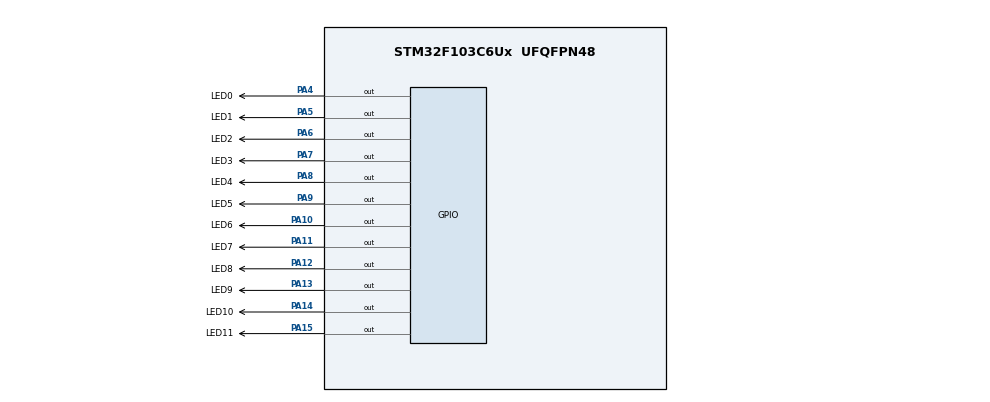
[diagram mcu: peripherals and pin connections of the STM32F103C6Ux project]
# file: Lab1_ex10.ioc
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Mcu.Family=STM32F1
Mcu.Name=STM32F103C6Ux
Mcu.Package=UFQFPN48
NVIC.PriorityGroup=NVIC_PRIORITYGROUP_4
PA10.GPIO_Label=LED6
PA10.Signal=GPIO_Output
PA11.GPIO_Label=LED7
PA11.Signal=GPIO_Output
PA12.GPIO_Label=LED8
PA12.Signal=GPIO_Output
PA13.GPIO_Label=LED9
PA13.Signal=GPIO_Output
PA14.GPIO_Label=LED10
PA14.Signal=GPIO_Output
PA15.GPIO_Label=LED11
PA15.Signal=GPIO_Output
PA4.GPIO_Label=LED0
PA4.Signal=GPIO_Output
PA5.GPIO_Label=LED1
PA5.Signal=GPIO_Output
PA6.GPIO_Label=LED2
PA6.Signal=GPIO_Output
PA7.GPIO_Label=LED3
PA7.Signal=GPIO_Output
PA8.GPIO_Label=LED4
PA8.Signal=GPIO_Output
PA9.GPIO_Label=LED5
PA9.Signal=GPIO_Output
ProjectManager.HeapSize=0x200
ProjectManager.StackSize=0x400
ProjectManager.TargetToolchain=STM32CubeIDE
RCC.APB1Freq_Value=8000000
RCC.APB2Freq_Value=8000000
VP_SYS_VS_ND.Mode=No_Debug
board=custom

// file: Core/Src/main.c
/* USER CODE BEGIN Header */
/**
  ******************************************************************************
  * @file           : main.c
  * @brief          : Main program body
  ******************************************************************************
  * @attention
  *
  * <h2><center>&copy; Copyright (c) 2023 STMicroelectronics.
  * All rights reserved.</center></h2>
  *
  * This software component is licensed by ST under BSD 3-Clause license,
  * the "License"; You may not use this file except in compliance with the
  * License. You may obtain a copy of the License at:
  *                        opensource.org/licenses/BSD-3-Clause
  *
  ******************************************************************************
  */
/* USER CODE END Header */
#include "main.h"

void SystemClock_Config(void);
static void MX_GPIO_Init(void);

void clearAllClock(){
	HAL_GPIO_WritePin(LED0_GPIO_Port, LED0_Pin, GPIO_PIN_RESET);
	HAL_GPIO_WritePin(LED1_GPIO_Port, LED1_Pin, GPIO_PIN_RESET);
	HAL_GPIO_WritePin(LED2_GPIO_Port, LED2_Pin, GPIO_PIN_RESET);
	HAL_GPIO_WritePin(LED3_GPIO_Port, LED3_Pin, GPIO_PIN_RESET);
	HAL_GPIO_WritePin(LED4_GPIO_Port, LED4_Pin, GPIO_PIN_RESET);
	HAL_GPIO_WritePin(LED5_GPIO_Port, LED5_Pin, GPIO_PIN_RESET);
	HAL_GPIO_WritePin(LED6_GPIO_Port, LED6_Pin, GPIO_PIN_RESET);
	HAL_GPIO_WritePin(LED7_GPIO_Port, LED7_Pin, GPIO_PIN_RESET);
	HAL_GPIO_WritePin(LED8_GPIO_Port, LED8_Pin, GPIO_PIN_RESET);
	HAL_GPIO_WritePin(LED9_GPIO_Port, LED9_Pin, GPIO_PIN_RESET);
	HAL_GPIO_WritePin(LED10_GPIO_Port, LED10_Pin, GPIO_PIN_RESET);
	HAL_GPIO_WritePin(LED11_GPIO_Port, LED11_Pin, GPIO_PIN_RESET);
}

void setNumberOnClock(int num){
//	clearAllClock();
	if (num == 0){
		HAL_GPIO_WritePin(LED0_GPIO_Port, LED0_Pin, GPIO_PIN_SET);
	}
	else if (num == 1){
		HAL_GPIO_WritePin(LED1_GPIO_Port, LED1_Pin, GPIO_PIN_SET);
	}
	else if (num == 2){
		HAL_GPIO_WritePin(LED2_GPIO_Port, LED2_Pin, GPIO_PIN_SET);
	}
	else if (num == 3){
		HAL_GPIO_WritePin(LED3_GPIO_Port, LED3_Pin, GPIO_PIN_SET);
	}
	else if (num == 4){
		HAL_GPIO_WritePin(LED4_GPIO_Port, LED4_Pin, GPIO_PIN_SET);
	}
	else if (num == 5){
		HAL_GPIO_WritePin(LED5_GPIO_Port, LED5_Pin, GPIO_PIN_SET);
	}
	else if (num == 6){
		HAL_GPIO_WritePin(LED6_GPIO_Port, LED6_Pin, GPIO_PIN_SET);
	}
	else if (num == 7){
		HAL_GPIO_WritePin(LED7_GPIO_Port, LED7_Pin, GPIO_PIN_SET);
	}
	else if (num == 8){
		HAL_GPIO_WritePin(LED8_GPIO_Port, LED8_Pin, GPIO_PIN_SET);
	}
	else if (num == 9){
		HAL_GPIO_WritePin(LED9_GPIO_Port, LED9_Pin, GPIO_PIN_SET);
	}
	else if (num == 10){
		HAL_GPIO_WritePin(LED10_GPIO_Port, LED10_Pin, GPIO_PIN_SET);
	}
	else {
		HAL_GPIO_WritePin(LED11_GPIO_Port, LED11_Pin, GPIO_PIN_SET);
	}

}

void setNumberOffClock(int num){
//	clearAllClock();
	if (num == 0){
		HAL_GPIO_WritePin(LED0_GPIO_Port, LED0_Pin, GPIO_PIN_RESET);
	}
	else if (num == 1){
		HAL_GPIO_WritePin(LED1_GPIO_Port, LED1_Pin, GPIO_PIN_RESET);
	}
	else if (num == 2){
		HAL_GPIO_WritePin(LED2_GPIO_Port, LED2_Pin, GPIO_PIN_RESET);
	}
	else if (num == 3){
		HAL_GPIO_WritePin(LED3_GPIO_Port, LED3_Pin, GPIO_PIN_RESET);
	}
	else if (num == 4){
		HAL_GPIO_WritePin(LED4_GPIO_Port, LED4_Pin, GPIO_PIN_RESET);
	}
	else if (num == 5){
		HAL_GPIO_WritePin(LED5_GPIO_Port, LED5_Pin, GPIO_PIN_RESET);
	}
	else if (num == 6){
		HAL_GPIO_WritePin(LED6_GPIO_Port, LED6_Pin, GPIO_PIN_RESET);
	}
	else if (num == 7){
		HAL_GPIO_WritePin(LED7_GPIO_Port, LED7_Pin, GPIO_PIN_RESET);
	}
	else if (num == 8){
		HAL_GPIO_WritePin(LED8_GPIO_Port, LED8_Pin, GPIO_PIN_RESET);
	}
	else if (num == 9){
		HAL_GPIO_WritePin(LED9_GPIO_Port, LED9_Pin, GPIO_PIN_RESET);
	}
	else if (num == 10){
		HAL_GPIO_WritePin(LED10_GPIO_Port, LED10_Pin, GPIO_PIN_RESET);
	}
	else {
		HAL_GPIO_WritePin(LED11_GPIO_Port, LED11_Pin, GPIO_PIN_RESET);
	}

}

int seconds = 0, minutes = 0, hours = 0;
int t = 0;
void displayOnClock(int num){
  if(num <= 12){
    if (num - 1 == t || num - 1 == hours) setNumberOnClock(num);
    else{
     setNumberOffClock(num-1);
     setNumberOnClock(num);
    }
  }
}

int main(void)
{

  /* MCU Configuration--------------------------------------------------------*/

  /* Reset of all peripherals, Initializes the Flash interface and the Systick. */
  HAL_Init();

  /* Configure the system clock */
  SystemClock_Config();

  /* Initialize all configured peripherals */
  MX_GPIO_Init();

  /* Infinite loop */
  /* USER CODE BEGIN WHILE */
  int i = 0;
  while (1)
  {
	  // display hour
	  displayOnClock(hours);

	  // display minute
	  t=minutes/5;
	  displayOnClock(t);

	  // display second
	    if (i < 60){
	    	seconds = i/5;
	    	displayOnClock(seconds);
	    	i++;
	    }
	    else {
	    	i = 0;
	    	minutes++;
	    	if (minutes == 60){
	    		 hours++;
	    		 minutes = 0;
	    	if (hours == 12 ) hours = 0;
	    	}
	    }

	 HAL_Delay(10);
    /* USER CODE END WHILE */
  }
}

void SystemClock_Config(void)
{
  RCC_OscInitTypeDef RCC_OscInitStruct = {0};
  RCC_ClkInitTypeDef RCC_ClkInitStruct = {0};

  /** Initializes the RCC Oscillators according to the specified parameters
  * in the RCC_OscInitTypeDef structure.
  */
  RCC_OscInitStruct.OscillatorType = RCC_OSCILLATORTYPE_HSI;
  RCC_OscInitStruct.HSIState = RCC_HSI_ON;
  RCC_OscInitStruct.HSICalibrationValue = RCC_HSICALIBRATION_DEFAULT;
  RCC_OscInitStruct.PLL.PLLState = RCC_PLL_NONE;
  if (HAL_RCC_OscConfig(&RCC_OscInitStruct) != HAL_OK)
  {
    Error_Handler();
  }
  /** Initializes the CPU, AHB and APB buses clocks
  */
  RCC_ClkInitStruct.ClockType = RCC_CLOCKTYPE_HCLK|RCC_CLOCKTYPE_SYSCLK
                              |RCC_CLOCKTYPE_PCLK1|RCC_CLOCKTYPE_PCLK2;
  RCC_ClkInitStruct.SYSCLKSource = RCC_SYSCLKSOURCE_HSI;
  RCC_ClkInitStruct.AHBCLKDivider = RCC_SYSCLK_DIV1;
  RCC_ClkInitStruct.APB1CLKDivider = RCC_HCLK_DIV1;
  RCC_ClkInitStruct.APB2CLKDivider = RCC_HCLK_DIV1;

  if (HAL_RCC_ClockConfig(&RCC_ClkInitStruct, FLASH_LATENCY_0) != HAL_OK)
  {
    Error_Handler();
  }
}

static void MX_GPIO_Init(void)
{
  GPIO_InitTypeDef GPIO_InitStruct = {0};

  /* GPIO Ports Clock Enable */
  __HAL_RCC_GPIOA_CLK_ENABLE();

  /*Configure GPIO pin Output Level */
  HAL_GPIO_WritePin(GPIOA, LED0_Pin|LED1_Pin|LED2_Pin|LED3_Pin
                          |LED4_Pin|LED5_Pin|LED6_Pin|LED7_Pin
                          |LED8_Pin|LED9_Pin|LED10_Pin|LED11_Pin, GPIO_PIN_RESET);

  /*Configure GPIO pins : LED0_Pin LED1_Pin LED2_Pin LED3_Pin
                           LED4_Pin LED5_Pin LED6_Pin LED7_Pin
                           LED8_Pin LED9_Pin LED10_Pin LED11_Pin */
  GPIO_InitStruct.Pin = LED0_Pin|LED1_Pin|LED2_Pin|LED3_Pin
                          |LED4_Pin|LED5_Pin|LED6_Pin|LED7_Pin
                          |LED8_Pin|LED9_Pin|LED10_Pin|LED11_Pin;
  GPIO_InitStruct.Mode = GPIO_MODE_OUTPUT_PP;
  GPIO_InitStruct.Pull = GPIO_NOPULL;
  GPIO_InitStruct.Speed = GPIO_SPEED_FREQ_LOW;
  HAL_GPIO_Init(GPIOA, &GPIO_InitStruct);

}

void Error_Handler(void)
{
  __disable_irq();
  while (1)
  {
  }
}

/************************ (C) COPYRIGHT STMicroelectronics *****END OF FILE****/
